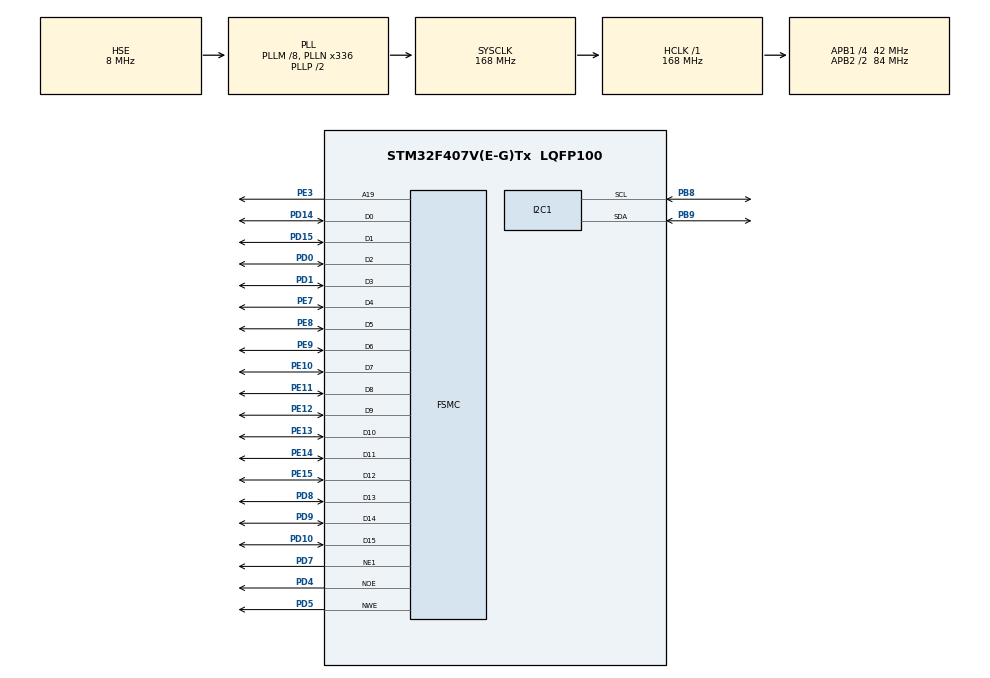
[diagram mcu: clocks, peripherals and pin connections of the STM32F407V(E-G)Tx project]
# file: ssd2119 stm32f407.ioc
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FSMC.AddressSetupTime1=9
FSMC.DataSetupTime1=36
Mcu.Family=STM32F4
Mcu.Name=STM32F407V(E-G)Tx
Mcu.Package=LQFP100
NVIC.PriorityGroup=NVIC_PRIORITYGROUP_0
PB8.Mode=I2C
PB8.Signal=I2C1_SCL
PB9.Mode=I2C
PB9.Signal=I2C1_SDA
PD0.Mode=16b-d1
PD0.Signal=FSMC_D2
PD1.Mode=16b-d1
PD1.Signal=FSMC_D3
PD10.Mode=16b-d1
PD10.Signal=FSMC_D15
PD14.Mode=16b-d1
PD14.Signal=FSMC_D0
PD15.Mode=16b-d1
PD15.Signal=FSMC_D1
PD4.Mode=Lcd1
PD4.Signal=FSMC_NOE
PD5.Mode=Lcd1
PD5.Signal=FSMC_NWE
PD7.Mode=NorPsramChipSelect1_1
PD7.Signal=FSMC_NE1
PD8.Mode=16b-d1
PD8.Signal=FSMC_D13
PD9.Mode=16b-d1
PD9.Signal=FSMC_D14
PE10.Mode=16b-d1
PE10.Signal=FSMC_D7
PE11.Mode=16b-d1
PE11.Signal=FSMC_D8
PE12.Mode=16b-d1
PE12.Signal=FSMC_D9
PE13.Mode=16b-d1
PE13.Signal=FSMC_D10
PE14.Mode=16b-d1
PE14.Signal=FSMC_D11
PE15.Mode=16b-d1
PE15.Signal=FSMC_D12
PE3.Mode=A19_1
PE3.Signal=FSMC_A19
PE7.Mode=16b-d1
PE7.Signal=FSMC_D4
PE8.Mode=16b-d1
PE8.Signal=FSMC_D5
PE9.Mode=16b-d1
PE9.Signal=FSMC_D6
PH0-OSC_IN.Mode=HSE-External-Oscillator
PH0-OSC_IN.Signal=RCC_OSC_IN
PH1-OSC_OUT.Mode=HSE-External-Oscillator
PH1-OSC_OUT.Signal=RCC_OSC_OUT
ProjectManager.HeapSize=0x200
ProjectManager.StackSize=0x400
ProjectManager.TargetToolchain=STM32CubeIDE
RCC.48MHZClocksFreq_Value=48000000
RCC.AHBFreq_Value=168000000
RCC.APB1CLKDivider=RCC_HCLK_DIV4
RCC.APB1Freq_Value=42000000
RCC.APB1TimFreq_Value=84000000
RCC.APB2CLKDivider=RCC_HCLK_DIV2
RCC.APB2Freq_Value=84000000
RCC.APB2TimFreq_Value=168000000
RCC.CortexFreq_Value=168000000
RCC.HCLKFreq_Value=168000000
RCC.HSE_VALUE=8000000
RCC.HSI_VALUE=16000000
RCC.LSE_VALUE=32768
RCC.PLLM=8
RCC.PLLN=336
RCC.PLLQ=7
RCC.PLLSourceVirtual=RCC_PLLSOURCE_HSE
RCC.SYSCLKFreq_VALUE=168000000
RCC.SYSCLKSource=RCC_SYSCLKSOURCE_PLLCLK
RCC.VCOOutputFreq_Value=336000000
board=STM32F407G-DISC1

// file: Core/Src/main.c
/* USER CODE BEGIN Header */
/**
  ******************************************************************************
  * @file           : main.c
  * @brief          : Main program body
  ******************************************************************************
  * @attention
  *
  * Copyright (c) 2022 STMicroelectronics.
  * All rights reserved.
  *
  * This software is licensed under terms that can be found in the LICENSE file
  * in the root directory of this software component.
  * If no LICENSE file comes with this software, it is provided AS-IS.
  *
  ******************************************************************************
  */
/* USER CODE END Header */
#include "main.h"

/* USER CODE BEGIN Includes */
#include "ssd2119_16bit_fsmc.h"
#include "STMPE811.h"
#include "stdio.h"
#include "snake.h"
/* USER CODE END Includes */
unsigned int x,y;
char buff[64];
/* USER CODE BEGIN PTD */
uint8_t capture_Flag = ENABLE;
#define OPTIONS_START_POS_X	200
#define OPTIONS_END_POS_X 	320
#define OPTIONS_START_POS_Y 140
#define OPTIONS_END_POS_Y 	200

enum
{
	INIT,
	WAIT_PLAY,
	OPTIONS,
	INIT_PLAY,
	PLAY,
};
/* USER CODE END PTD */

 I2C_HandleTypeDef hi2c1;

SRAM_HandleTypeDef hsram1;

void SystemClock_Config(void);
static void MX_GPIO_Init(void);
static void MX_FSMC_Init(void);
static void MX_I2C1_Init(void);

int main(void)
{
  /* USER CODE BEGIN 1 */

	uint8_t state = INIT, old_state = 0xFF;
  /* USER CODE END 1 */

  /* MCU Configuration--------------------------------------------------------*/

  /* Reset of all peripherals, Initializes the Flash interface and the Systick. */
  HAL_Init();

  /* Configure the system clock */
  SystemClock_Config();

  /* Initialize all configured peripherals */
  MX_GPIO_Init();
  MX_FSMC_Init();
  MX_I2C1_Init();
  /* USER CODE BEGIN 2 */
  SSD2119_Init();
  STMPE811_init();
//  char str[20] = {0};
  /* USER CODE END 2 */

  LCD_Clear(Green);

  /* Infinite loop */
  while (1)
  {

	  if(old_state != state)
	  {

		  old_state = state;

	  }

	  switch (state)
	  {
	  case INIT:
		  state = WAIT_PLAY;
		  break;

	  case WAIT_PLAY:
		  x=STMPE811_read_x();
		  y=STMPE811_read_y();
		  HAL_Delay(20);
		  LCD_FillRect(218, 0, 106, 80, Red);
		  LCD_FillRect(218, 160, 106, 80, Yellow);

	    	  if(x >=230 && x<=1400 && y>=2660 && y<=3800)
	    	  {
	    		  state = OPTIONS;}
	    	  else
	    	  {
	    		  state = INIT_PLAY;}

		  break;

	  case OPTIONS:
		  snakeOptions();

		  state = INIT;
		  do
		  {
			  x=STMPE811_read_x();
			  y=STMPE811_read_y();
		  } while(!(x >=188 && x<=3900 && y>=260 && y<=3800));
		  break;

	  case INIT_PLAY:
		  printFrame();
		  initSnake();
		  state = PLAY;
		  break;

	  case PLAY:
		  if (false == snakeTask())
		  {
			  state = INIT;
			  do
			  {
				  x=STMPE811_read_x();
				  y=STMPE811_read_y();
			  } while(!(x >=188 && x<=3900 && y>=260 && y<=3800));
			  break;
		  }
		  x=STMPE811_read_x();
		  y=STMPE811_read_y();
		  if((x >=188 && x<=3900 && y>=260 && y<=3800))
		  {
			  x=STMPE811_read_x();
			  y=STMPE811_read_y();
			  calcDirection(x, y);
		  }
		  break;
	  default:
		  state = INIT;
		  break;
	  }
  }

  return 0;

}

void SystemClock_Config(void)
{
  RCC_OscInitTypeDef RCC_OscInitStruct = {0};
  RCC_ClkInitTypeDef RCC_ClkInitStruct = {0};

  /** Configure the main internal regulator output voltage
  */
  __HAL_RCC_PWR_CLK_ENABLE();
  __HAL_PWR_VOLTAGESCALING_CONFIG(PWR_REGULATOR_VOLTAGE_SCALE1);

  /** Initializes the RCC Oscillators according to the specified parameters
  * in the RCC_OscInitTypeDef structure.
  */
  RCC_OscInitStruct.OscillatorType = RCC_OSCILLATORTYPE_HSE;
  RCC_OscInitStruct.HSEState = RCC_HSE_ON;
  RCC_OscInitStruct.PLL.PLLState = RCC_PLL_ON;
  RCC_OscInitStruct.PLL.PLLSource = RCC_PLLSOURCE_HSE;
  RCC_OscInitStruct.PLL.PLLM = 8;
  RCC_OscInitStruct.PLL.PLLN = 336;
  RCC_OscInitStruct.PLL.PLLP = RCC_PLLP_DIV2;
  RCC_OscInitStruct.PLL.PLLQ = 7;
  if (HAL_RCC_OscConfig(&RCC_OscInitStruct) != HAL_OK)
  {
    Error_Handler();
  }

  /** Initializes the CPU, AHB and APB buses clocks
  */
  RCC_ClkInitStruct.ClockType = RCC_CLOCKTYPE_HCLK|RCC_CLOCKTYPE_SYSCLK
                              |RCC_CLOCKTYPE_PCLK1|RCC_CLOCKTYPE_PCLK2;
  RCC_ClkInitStruct.SYSCLKSource = RCC_SYSCLKSOURCE_PLLCLK;
  RCC_ClkInitStruct.AHBCLKDivider = RCC_SYSCLK_DIV1;
  RCC_ClkInitStruct.APB1CLKDivider = RCC_HCLK_DIV4;
  RCC_ClkInitStruct.APB2CLKDivider = RCC_HCLK_DIV2;

  if (HAL_RCC_ClockConfig(&RCC_ClkInitStruct, FLASH_LATENCY_5) != HAL_OK)
  {
    Error_Handler();
  }
}

static void MX_I2C1_Init(void)
{

  hi2c1.Instance = I2C1;
  hi2c1.Init.ClockSpeed = 100000;
  hi2c1.Init.DutyCycle = I2C_DUTYCYCLE_2;
  hi2c1.Init.OwnAddress1 = 0;
  hi2c1.Init.AddressingMode = I2C_ADDRESSINGMODE_7BIT;
  hi2c1.Init.DualAddressMode = I2C_DUALADDRESS_DISABLE;
  hi2c1.Init.OwnAddress2 = 0;
  hi2c1.Init.GeneralCallMode = I2C_GENERALCALL_DISABLE;
  hi2c1.Init.NoStretchMode = I2C_NOSTRETCH_DISABLE;
  if (HAL_I2C_Init(&hi2c1) != HAL_OK)
  {
    Error_Handler();
  }

}

static void MX_GPIO_Init(void)
{

  /* GPIO Ports Clock Enable */
  __HAL_RCC_GPIOE_CLK_ENABLE();
  __HAL_RCC_GPIOH_CLK_ENABLE();
  __HAL_RCC_GPIOD_CLK_ENABLE();
  __HAL_RCC_GPIOB_CLK_ENABLE();

}

/* FSMC initialization function */
static void MX_FSMC_Init(void)
{

  FSMC_NORSRAM_TimingTypeDef Timing = {0};

  /** Perform the SRAM1 memory initialization sequence
  */
  hsram1.Instance = FSMC_NORSRAM_DEVICE;
  hsram1.Extended = FSMC_NORSRAM_EXTENDED_DEVICE;
  /* hsram1.Init */
  hsram1.Init.NSBank = FSMC_NORSRAM_BANK1;
  hsram1.Init.DataAddressMux = FSMC_DATA_ADDRESS_MUX_DISABLE;
  hsram1.Init.MemoryType = FSMC_MEMORY_TYPE_SRAM;
  hsram1.Init.MemoryDataWidth = FSMC_NORSRAM_MEM_BUS_WIDTH_16;
  hsram1.Init.BurstAccessMode = FSMC_BURST_ACCESS_MODE_DISABLE;
  hsram1.Init.WaitSignalPolarity = FSMC_WAIT_SIGNAL_POLARITY_LOW;
  hsram1.Init.WrapMode = FSMC_WRAP_MODE_DISABLE;
  hsram1.Init.WaitSignalActive = FSMC_WAIT_TIMING_BEFORE_WS;
  hsram1.Init.WriteOperation = FSMC_WRITE_OPERATION_ENABLE;
  hsram1.Init.WaitSignal = FSMC_WAIT_SIGNAL_DISABLE;
  hsram1.Init.ExtendedMode = FSMC_EXTENDED_MODE_DISABLE;
  hsram1.Init.AsynchronousWait = FSMC_ASYNCHRONOUS_WAIT_DISABLE;
  hsram1.Init.WriteBurst = FSMC_WRITE_BURST_DISABLE;
  hsram1.Init.PageSize = FSMC_PAGE_SIZE_NONE;
  /* Timing */
  Timing.AddressSetupTime = 9;
  Timing.AddressHoldTime = 15;
  Timing.DataSetupTime = 36;
  Timing.BusTurnAroundDuration = 15;
  Timing.CLKDivision = 16;
  Timing.DataLatency = 17;
  Timing.AccessMode = FSMC_ACCESS_MODE_A;
  /* ExtTiming */

  if (HAL_SRAM_Init(&hsram1, &Timing, NULL) != HAL_OK)
  {
    Error_Handler( );
  }

}

void Error_Handler(void)
{
  __disable_irq();
  while (1)
  {
  }
}
